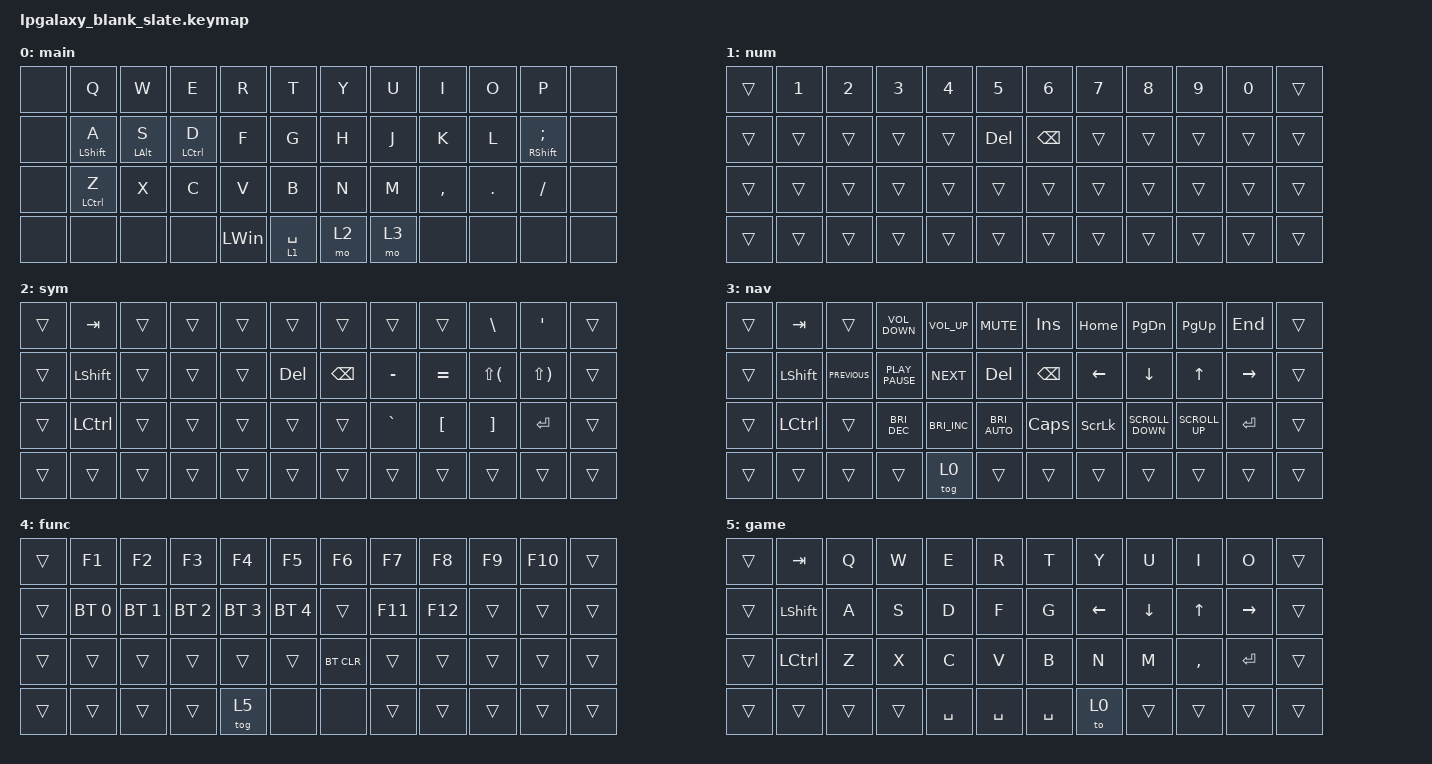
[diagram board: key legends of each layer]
#include <behaviors.dtsi>
#include <dt-bindings/zmk/bt.h>
#include <dt-bindings/zmk/keys.h>

&mt { flavor = "tap-preferred"; };

&lt { flavor = "tap-preferred"; };

/ {
    combos {
        compatible = "zmk,combos";

        esc_combo {
            bindings = <&kp ESCAPE>;
            key-positions = <1 2>;
        };
    };

    keymap {
        compatible = "zmk,keymap";

        main {
            bindings = <
&none  &kp Q         &kp W           &kp E        &kp R         &kp T        &kp Y  &kp U  &kp I      &kp O    &kp P            &none
&none  &mt LSHIFT A  &mt LEFT_ALT S  &mt LCTRL D  &kp F         &kp G        &kp H  &kp J  &kp K      &kp L    &mt RSHIFT SEMI  &none
&none  &mt LCTRL Z   &kp X           &kp C        &kp V         &kp B        &kp N  &kp M  &kp COMMA  &kp DOT  &kp FSLH         &none
&none  &none         &none           &none        &kp LEFT_WIN  &lt 1 SPACE  &mo 2  &mo 3  &none      &none    &none            &none
            >;
        };

        num {
            bindings = <
&trans  &kp N1  &kp N2  &kp N3  &kp N4  &kp N5   &kp N6         &kp N7  &kp N8  &kp N9  &kp N0  &trans
&trans  &trans  &trans  &trans  &trans  &kp DEL  &kp BACKSPACE  &trans  &trans  &trans  &trans  &trans
&trans  &trans  &trans  &trans  &trans  &trans   &trans         &trans  &trans  &trans  &trans  &trans
&trans  &trans  &trans  &trans  &trans  &trans   &trans         &trans  &trans  &trans  &trans  &trans
            >;
        };

        sym {
            bindings = <
&trans  &kp TAB     &trans  &trans  &trans  &trans   &trans    &trans     &trans            &kp BSLH           &kp SQT       &trans
&trans  &kp LSHIFT  &trans  &trans  &trans  &kp DEL  &kp BSPC  &kp MINUS  &kp EQUAL         &kp LS(LPAR)       &kp LS(RPAR)  &trans
&trans  &kp LCTRL   &trans  &trans  &trans  &trans   &trans    &kp GRAVE  &kp LEFT_BRACKET  &kp RIGHT_BRACKET  &kp RETURN    &trans
&trans  &trans      &trans  &trans  &trans  &trans   &trans    &trans     &trans            &trans             &trans        &trans
            >;
        };

        nav {
            bindings = <
&trans  &kp TAB    &trans          &kp K_VOLUME_DOWN  &kp K_VOL_UP   &kp K_MUTE             &kp INS        &kp HOME        &kp PG_DN          &kp PG_UP        &kp END    &trans
&trans  &kp LSHFT  &kp K_PREVIOUS  &kp K_PLAY_PAUSE   &kp K_NEXT     &kp DEL                &kp BACKSPACE  &kp LEFT        &kp DOWN           &kp UP           &kp RIGHT  &trans
&trans  &kp LCTRL  &trans          &kp C_BRI_DEC      &kp C_BRI_INC  &kp C_BRIGHTNESS_AUTO  &kp CAPS       &kp SCROLLLOCK  &kp K_SCROLL_DOWN  &kp K_SCROLL_UP  &kp ENTER  &trans
&trans  &trans     &trans          &trans             &tog 0         &trans                 &trans         &trans          &trans             &trans           &trans     &trans
            >;
        };

        func {
            bindings = <
&trans  &kp F1        &kp F2        &kp F3        &kp F4        &kp F5        &kp F6      &kp F7   &kp F8   &kp F9  &kp F10  &trans
&trans  &bt BT_SEL 0  &bt BT_SEL 1  &bt BT_SEL 2  &bt BT_SEL 3  &bt BT_SEL 4  &trans      &kp F11  &kp F12  &trans  &trans   &trans
&trans  &trans        &trans        &trans        &trans        &trans        &bt BT_CLR  &trans   &trans   &trans  &trans   &trans
&trans  &trans        &trans        &trans        &tog 5        &none         &none       &trans   &trans   &trans  &trans   &trans
            >;
        };

        game {
            bindings = <
&trans  &kp TAB    &kp Q   &kp W   &kp E      &kp R      &kp T      &kp Y     &kp U     &kp I         &kp O       &trans
&trans  &kp LSHFT  &kp A   &kp S   &kp D      &kp F      &kp G      &kp LEFT  &kp DOWN  &kp UP_ARROW  &kp RIGHT   &trans
&trans  &kp LCTRL  &kp Z   &kp X   &kp C      &kp V      &kp B      &kp N     &kp M     &kp COMMA     &kp RETURN  &trans
&trans  &trans     &trans  &trans  &kp SPACE  &kp SPACE  &kp SPACE  &to 0     &trans    &trans        &trans      &trans
            >;
        };
    };

    conditional_layers {
        compatible = "zmk,conditional-layers";

        func {
            if-layers = <1 2>;
            then-layer = <4>;
        };
    };
};
